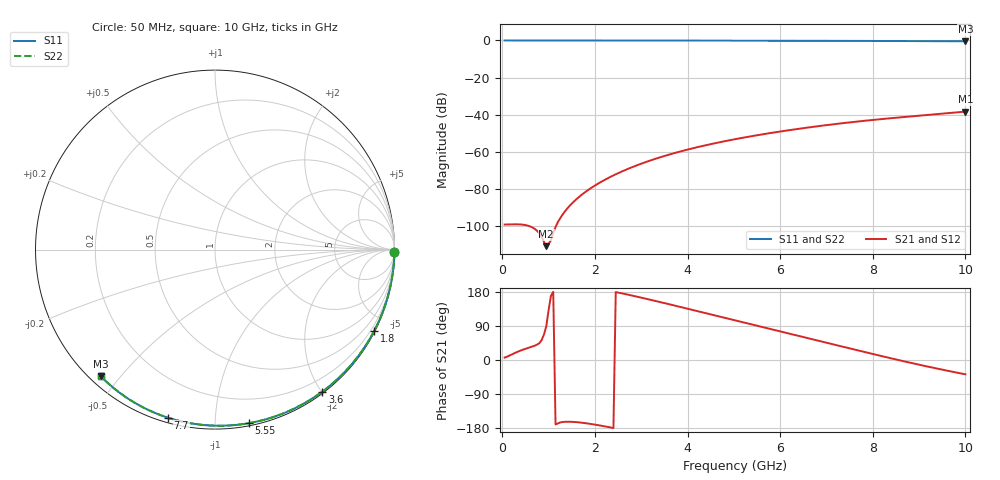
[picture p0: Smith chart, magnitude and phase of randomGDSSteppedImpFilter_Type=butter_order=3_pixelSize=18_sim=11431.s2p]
! freq	dB(S11)	phase(S11)	dB(S12)	phase(S12)
!  dB(S21)	phase(S21)	dB(S22)	phase(S22)
!S-par simulation data
#  GHz  S  DB  R 50
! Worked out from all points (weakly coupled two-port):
!   200 points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, 50 MHz to 10 GHz, reference 50 ohm
!   highest |S21| = -38.29 dB at 10 GHz (marker M1); lowest = -110.7 dB at 950 MHz (marker M2)
!   lowest |S11| = -0.4 dB at 10 GHz (marker M3), VSWR 39.14, Z = 1.53 - j22.2 ohm
!   |S11| at or under -10 dB: nowhere
!   |S22| runs from -0.4 to 0.0 dB; largest |S21 - S12| = 0
!   S11 on the Smith chart (normalised r, x): 50 MHz: open; 1.8 GHz: 0.04, -4.15; 3.6 GHz: 0.02, -2.01; 5.55 GHz: 0.02, -1.21; 7.7 GHz: 0.02, -0.76; 10 GHz: 0.03, -0.44
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0.05  -0.00 -0.8  -99.05 6.4  -99.05 6.4  -0.00 -0.8
0.5  -0.01 -7.6  -99.36 29.4  -99.36 29.4  -0.01 -7.6
0.95  -0.02 -14.4  -110.70 89.0  -110.70 89.0  -0.02 -14.4
1.75  -0.03 -26.3  -82.35 -166.0  -82.35 -166.0  -0.03 -26.3
1.8  -0.03 -27.1  -81.42 -166.8  -81.42 -166.8  -0.03 -27.1
1.85  -0.04 -27.8  -80.53 -167.6  -80.53 -167.6  -0.04 -27.8
1.9  -0.04 -28.6  -79.68 -168.5  -79.68 -168.5  -0.04 -28.6
2.05  -0.04 -30.8  -77.31 -171.5  -77.31 -171.5  -0.04 -30.8
2.25  -0.04 -33.7  -74.50 -175.9  -74.50 -175.9  -0.04 -33.7
2.65  -0.05 -39.5  -69.77 174.1  -69.77 174.1  -0.05 -39.5
3  -0.06 -44.5  -66.31 164.6  -66.31 164.6  -0.06 -44.5
3.4  -0.07 -50.1  -62.94 153.1  -62.94 153.1  -0.07 -50.1
3.6  -0.07 -52.9  -61.43 147.3  -61.43 147.3  -0.07 -52.9
4.3  -0.09 -62.6  -56.91 126.4  -56.91 126.4  -0.09 -62.6
5.05  -0.11 -72.6  -53.02 103.9  -53.02 103.9  -0.11 -72.6
5.55  -0.13 -79.1  -50.80 89.0  -50.80 89.0  -0.13 -79.1
6.1  -0.15 -86.1  -48.63 72.6  -48.63 72.6  -0.15 -86.1
6.7  -0.18 -93.5  -46.52 54.6  -46.52 54.6  -0.18 -93.5
7.7  -0.24 -105.6  -43.55 24.7  -43.55 24.7  -0.24 -105.6
8.35  -0.29 -113.2  -41.93 5.7  -41.93 5.7  -0.29 -113.2
9.15  -0.36 -122.5  -40.17 -16.4  -40.17 -16.4  -0.36 -122.5
10  -0.44 -132.1  -38.29 -37.8  -38.29 -37.8  -0.44 -132.1
